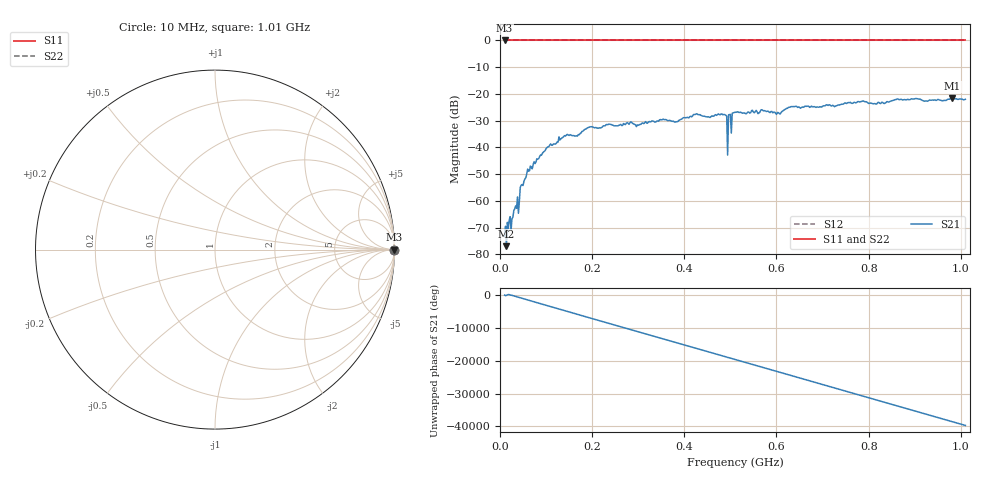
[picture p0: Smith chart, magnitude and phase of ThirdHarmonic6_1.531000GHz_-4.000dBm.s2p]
! 8/16/2025 6:06:54 PM
! C:\ANRITSUVNA\TEMP\TEMP.S2P
! CHANNEL.1
! TR.MEASUREMENT
! RAW.DATA
! RF.CORRECTION.OFF
! AVERAGING.OFF
! IF.BANDWIDTH: 5KHZ
! SWEEPTYPE:  FREQ.SWEEP(Linear)
! Reference Plane Port Info
! PORT:  PORT1  PORT2
! DISTANCE:  0  m  0  m
! TIME:  0  s  0  s
! PHASE.OFFSET:  0  deg.  0  deg.
! LOSS:  0  dB  0  dB
! REF.LOSS:  0  dB  0  dB
! REF.FREQ:  0  Hz  0  Hz
! Power Info
! POWER:  -20  dBm  -20  dBm
! EFF.POWER:  -20  dBm  -20  dBm
! SOURCE.ATTEN:  0  dB  0  dB
! TEST.ATTEN:  0  dB  0  dB
# GHZ S RI R 50.0
! FREQ.GHZ  S11RE  S11IM  S21RE  S21IM  S12RE  S12IM  S22RE  S22IM
!; PortSelection: Port_12
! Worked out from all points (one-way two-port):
!   501 points, 10 MHz to 1.01 GHz, reference 50 ohm
!   highest |S21| = -21.62 dB at 982 MHz (marker M1); lowest = -76.9 dB at 14 MHz (marker M2)
!   lowest |S11| = 0.0 dB at 10 MHz (marker M3)
!   |S11| at or under -10 dB: nowhere
!   |S22| runs from 0.0 to 0.0 dB; largest |S21 - S12| = 1.1
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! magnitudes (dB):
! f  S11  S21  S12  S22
! 10 MHz  0.0  -73.4  0.0  0.0
! 14 MHz  0.0  -76.9  0.0  0.0
! 34 MHz  0.0  -61.8  0.0  0.0
! 38 MHz  0.0  -58.5  0.0  0.0
! 48 MHz  0.0  -53.9  0.0  0.0
! 64 MHz  0.0  -48.7  0.0  0.0
! 106 MHz  0.0  -39.7  0.0  0.0
! 178 MHz  0.0  -34.0  0.0  0.0
! 196 MHz  0.0  -32.3  0.0  0.0
! 344 MHz  0.0  -30.2  0.0  0.0
! 484 MHz  0.0  -27.8  0.0  0.0
! 488 MHz  0.0  -27.7  0.0  0.0
! 490 MHz  0.0  -28.0  0.0  0.0
! 498 MHz  0.0  -27.7  0.0  0.0
! 500 MHz  0.0  -27.6  0.0  0.0
! 510 MHz  0.0  -26.9  0.0  0.0
! 604 MHz  0.0  -27.0  0.0  0.0
! 630 MHz  0.0  -24.9  0.0  0.0
! 678 MHz  0.0  -24.9  0.0  0.0
! 844 MHz  0.0  -23.0  0.0  0.0
! 982 MHz  0.0  -21.6  0.0  0.0
! 1.01 GHz  0.0  -22.0  0.0  0.0
